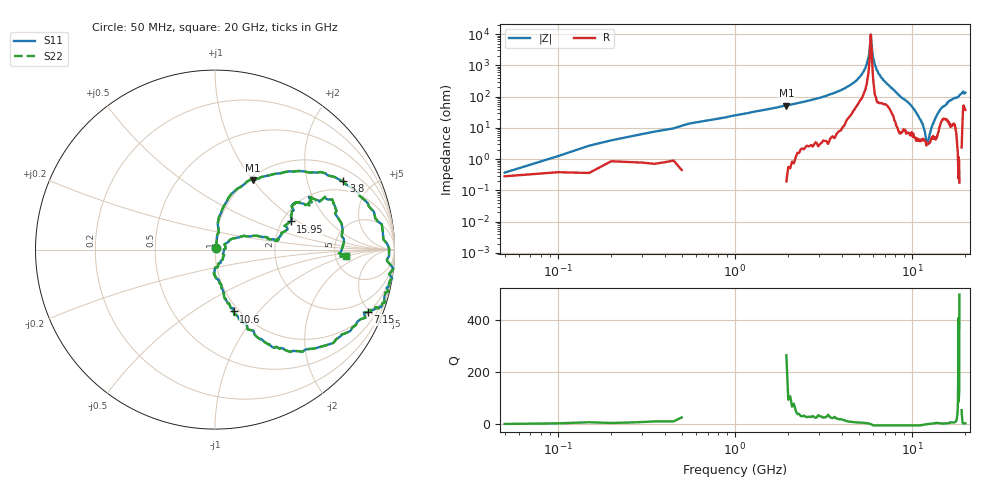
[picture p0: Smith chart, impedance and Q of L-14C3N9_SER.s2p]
# MHZ S MA R 50
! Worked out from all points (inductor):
!   400 points, 50 MHz to 20 GHz, reference 50 ohm
!   read as one part in series: L = 3.11 nH near 150 MHz
!   highest Q = 67.5 at 1.95 GHz (marker M1), where L = 4.22 nH
!   self-resonance near 5.8 GHz
!   S11 on the Smith chart (normalised r, x): 50 MHz: 1.01, +0.02; 3.8 GHz: 1.52, +3.37; 7.15 GHz: 1.08, -4.87; 10.6 GHz: 0.94, -0.75; 15.95 GHz: 2.22, +0.87; 20 GHz: 6.26, -0.96
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50  0.01 55.6  1 0.2  1 0.2  0.01 55.6
150  0.04 77.7  1 -0.8  1 -0.8  0.04 77.7
550  0.14 83.9  0.99 -7.6  0.99 -7.6  0.14 83.9
1950  0.44 61.3  0.89 -29.0  0.89 -29.0  0.44 61.3
3400  0.74 35.3  0.67 -52.4  0.67 -52.4  0.74 35.3
3800  0.81 28.0  0.57 -58.9  0.57 -58.9  0.81 28.0
5350  1 -6.1  0.15 -84.8  0.15 -84.8  1 -6.1
5700  0.99 -11.9  0.05 -78.7  0.05 -78.7  0.99 -11.9
5850  0.99 -13.8  0.01 -8.9  0.01 -8.9  0.99 -13.8
6000  0.98 -15.8  0.05 58.3  0.05 58.3  0.98 -15.8
6150  0.98 -18.0  0.09 65.6  0.09 65.6  0.98 -18.0
6700  0.96 -19.8  0.23 61.5  0.23 61.5  0.96 -19.8
7150  0.92 -22.2  0.33 55.9  0.33 55.9  0.92 -22.2
8450  0.75 -49.3  0.62 37.3  0.62 37.3  0.75 -49.3
10050  0.48 -67.7  0.84 16.4  0.84 16.4  0.48 -67.7
10600  0.36 -73.2  0.9 9.2  0.9 9.2  0.36 -73.2
13350  0.05 -24.5  0.95 -19.5  0.95 -19.5  0.05 -24.5
14400  0.25 17.9  0.94 -30.4  0.94 -30.4  0.25 17.9
15950  0.45 20.4  0.86 -44.7  0.86 -44.7  0.45 20.4
16700  0.53 29.6  0.81 -48.2  0.81 -48.2  0.53 29.6
18750  0.71 23.2  0.68 -68.8  0.68 -68.8  0.71 23.2
20000  0.73 -2.8  0.62 -71.7  0.62 -71.7  0.73 -2.8
